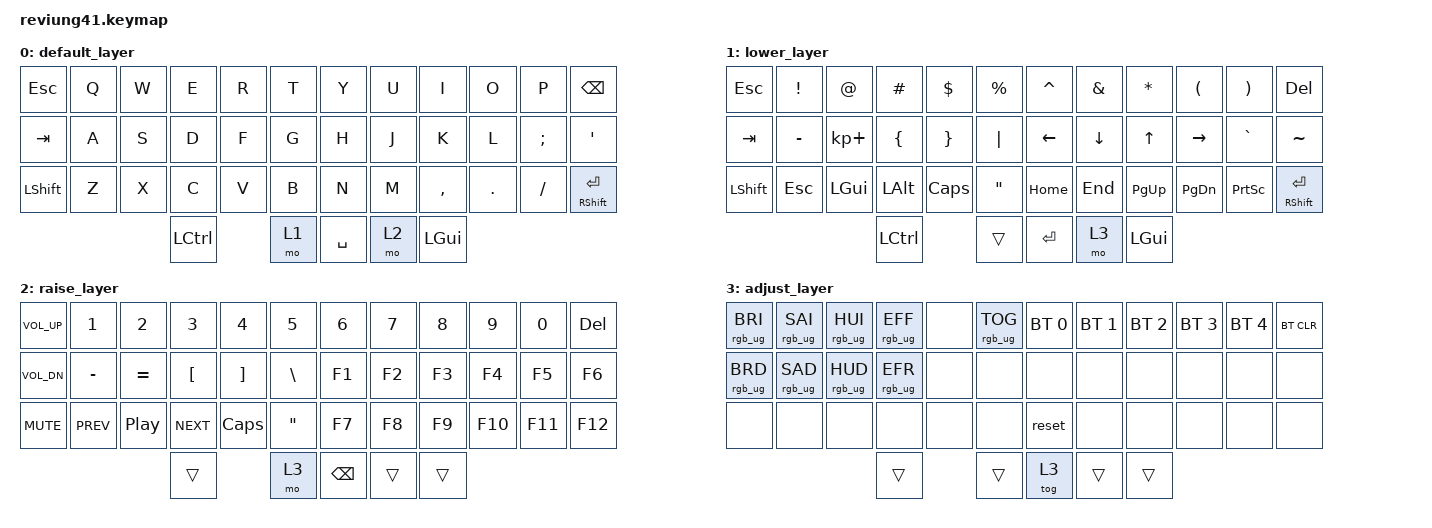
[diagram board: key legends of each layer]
/*
 * Copyright (c) 2020 The ZMK Contributors
 *
 * SPDX-License-Identifier: MIT
 */

#include <behaviors.dtsi>
#include <dt-bindings/zmk/keys.h>
#include <dt-bindings/zmk/bt.h>
#include <dt-bindings/zmk/rgb.h>

/ {
        keymap {
                compatible = "zmk,keymap";

                default_layer {
// -------------------------------------------------------------------------------------
// | ESC  |  Q  |  W  |  E  |  R  |  T  |   |  Y  |  U   |  I  |  O  |  P  |   BKSP    |
// | TAB  |  A  |  S  |  D  |  F  |  G  |   |  H  |  J   |  K  |  L  |  ;  |    '      |
// | SHFT |  Z  |  X  |  C  |  V  |  B  |   |  N  |  M   |  ,  |  .  |  /  | SHFT(RET) |
//                         | CTRL | LWR | SPC | RSE  | GUI |
                        bindings = <
   &kp ESC   &kp Q &kp W &kp E &kp R &kp T   &kp Y &kp U  &kp I     &kp O   &kp P    &kp BSPC
   &kp TAB   &kp A &kp S &kp D &kp F &kp G   &kp H &kp J  &kp K     &kp L   &kp SEMI &kp SQT
   &kp LSHFT &kp Z &kp X &kp C &kp V &kp B   &kp N &kp M  &kp COMMA &kp DOT &kp FSLH &mt RSHFT RET
                        &kp LCTRL  &mo 1 &kp SPACE &mo 2  &kp LGUI
                        >;
                };

                lower_layer {
// -----------------------------------------------------------------------------------
// | ESC  |  !  |  @  |  #  |  $  |  %  |   |  ^  |  &  |  *  |  (  |  )  |    DEL    |
// | TAB  |  _  |  +  |  {  |  }  | "|" |   | LFT | DWN |  UP | RGT |  `  |     ~     |
// |SHIFT | ESC | GUI | ALT | CAPS|  "  |   | HOME| END | PGUP| PGDN| PRSC| SHFT(RET) |
//                       | CTRL   |     | RET | ADJ | GUI |
                        bindings = <
   &kp ESC      &kp EXCL  &kp AT      &kp HASH &kp DLLR &kp PRCNT      &kp CARET &kp AMPS &kp ASTRK &kp LPAR  &kp RPAR  &kp DEL
   &kp TAB     &kp MINUS &kp KP_PLUS &kp LBRC &kp RBRC &kp PIPE       &kp LEFT  &kp DOWN &kp UP    &kp RIGHT &kp GRAVE &kp TILDE
   &kp LSHIFT      &kp ESC   &kp LGUI    &kp LALT &kp CLCK &kp DQT        &kp HOME  &kp END  &kp PG_UP &kp PG_DN &kp PSCRN &mt RSHFT RET
                                 &kp LCTRL      &trans       &kp RET        &mo 3       &kp LGUI
                        >;
                };

                raise_layer {
// -----------------------------------------------------------------------------------------
// | VOLU |   1  |   2  |   3  |  4  |  5  |   |  6  |  7  |  8  |  9  |  0  | DEL |
// | VOLD |   -  |   =  |   [  |  ]  |  \  |   | F1  | F2  | F3  | F4  | F5  | F6  |
// | MUTE | PREV | PLAY | NEXT | CAPS|  "  |   | F7  | F8  | F9  | F10 | F11 | F12 |
//                       |     | ADJ | BKSP |    |     |
                        bindings = <
   &kp C_VOL_UP &kp N1     &kp N2    &kp N3     &kp N4    &kp N5        &kp N6    &kp N7    &kp N8    &kp N9    &kp N0    &kp DEL
   &kp C_VOL_DN &kp MINUS  &kp EQUAL &kp LBKT   &kp RBKT  &kp BSLH      &kp F1    &kp F2    &kp F3    &kp F4    &kp F5    &kp F6
   &kp C_MUTE   &kp C_PREV &kp C_PP  &kp C_NEXT &kp CLCK  &kp DQT       &kp F7    &kp F8    &kp F9    &kp F10   &kp F11   &kp F12
                                &trans      &mo 3       &kp BSPC        &trans      &trans
                        >;
                };

                adjust_layer {
// -----------------------------------------------------------------------------------------
// | RGB BRI+ | RGB SAT+ | RGB HUE+ | RGB ANI+ |    | RGB TOG |   |  BT1  | BT2 | BT3 | BT4 | BT5 | BT CLR |
// | RGB BRI- | RGB SAT- | RGB HUE- | RGB ANI- |    |         |   |       |     |     |     |     |        |
// |          |          |          |          |    |         |   | RESET |     |     |     |     |        |
//                                              |     |     |     |     |     |
                        bindings = <
   &rgb_ug RGB_BRI &rgb_ug RGB_SAI &rgb_ug RGB_HUI &rgb_ug RGB_EFF &none &rgb_ug RGB_TOG    &bt BT_SEL 0 &bt BT_SEL 1 &bt BT_SEL 2 &bt BT_SEL 3 &bt BT_SEL 4 &bt BT_CLR
   &rgb_ug RGB_BRD &rgb_ug RGB_SAD &rgb_ug RGB_HUD &rgb_ug RGB_EFR &none &none              &none        &none        &none        &none        &none        &none
   &none           &none           &none           &none           &none &none              &reset       &none        &none        &none        &none        &none
                                                             &trans      &trans       &tog 3        &trans      &trans
                        >;
                };
        };
};
